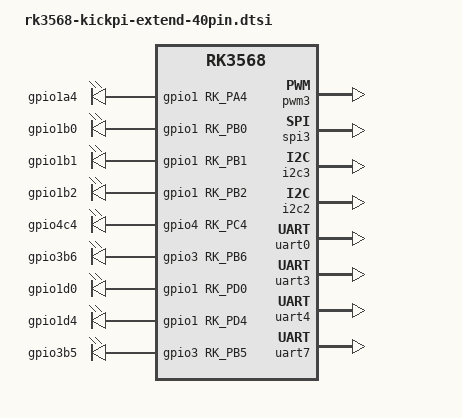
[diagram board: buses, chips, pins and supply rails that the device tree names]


&leds {
    gpio1a4 {
        gpios = <&gpio1 RK_PA4 GPIO_ACTIVE_HIGH>;
        default-state = "off";
    };
    gpio1b0 {
        gpios = <&gpio1 RK_PB0 GPIO_ACTIVE_HIGH>;
        default-state = "off";
    };
    gpio1b1 {
        gpios = <&gpio1 RK_PB1 GPIO_ACTIVE_HIGH>;
        default-state = "off";
    };
    gpio1b2 {
        gpios = <&gpio1 RK_PB2 GPIO_ACTIVE_HIGH>;
        default-state = "off";
    };
    gpio4c4 {
        gpios = <&gpio4 RK_PC4 GPIO_ACTIVE_HIGH>;
        default-state = "off";
    };
    gpio3b6 {
        gpios = <&gpio3 RK_PB6 GPIO_ACTIVE_HIGH>;
        default-state = "off";
    };
    gpio1d0 {
        gpios = <&gpio1 RK_PD0 GPIO_ACTIVE_HIGH>;
        default-state = "off";
    };
    gpio1d4 {
        gpios = <&gpio1 RK_PD4 GPIO_ACTIVE_HIGH>;
        default-state = "off";
    };
    gpio3b5 {
        gpios = <&gpio3 RK_PB5 GPIO_ACTIVE_HIGH>;
        default-state = "off";
    };
};


&pwm3 {
    status = "okay";
};

&spi3 {
    status = "okay";
    pinctrl-names = "default", "high_speed";
    pinctrl-0 = <&spi3m1_pins>;
    pinctrl-1 = <&spi3m1_pins_hs>;
};

&i2c3 {
    status = "okay";
    pinctrl-names = "default";
    pinctrl-0 = <&i2c3m0_xfer>;
};

&i2c2 {
    status = "okay";
    pinctrl-names = "default";
    pinctrl-0 = <&i2c2m1_xfer>;
};

&uart0 {
    status = "okay";
    pinctrl-names = "default";
    pinctrl-0 = <&uart0_xfer>;
};

&uart3 {
    status = "okay";
    pinctrl-names = "default";
    pinctrl-0 = <&uart3m1_xfer>;
};

&uart4 {
    status = "okay";
    pinctrl-names = "default";
    pinctrl-0 = <&uart4m1_xfer>;
};

&uart7 {
    status = "okay";
    pinctrl-names = "default";
    pinctrl-0 = <&uart7m1_xfer>;
};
